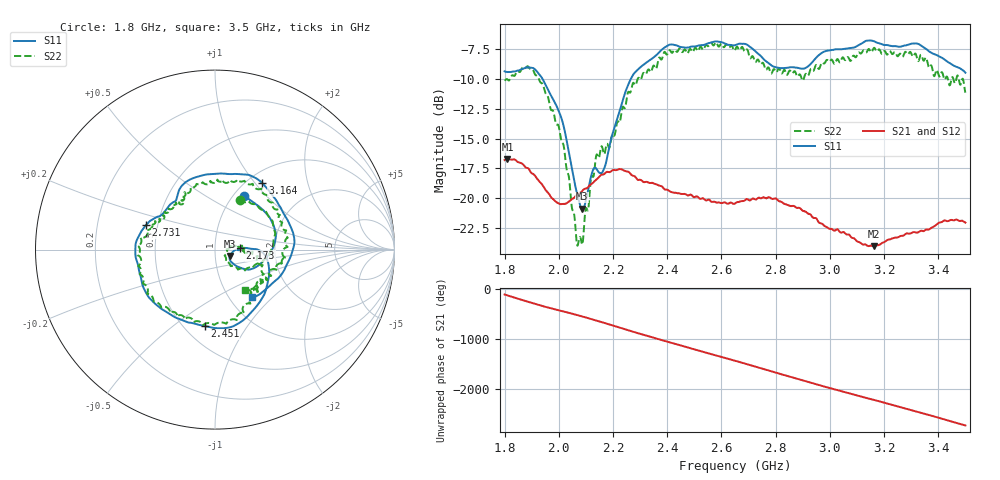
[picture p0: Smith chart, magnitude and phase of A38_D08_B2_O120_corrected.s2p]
! Created with skrf 1.9.0 (http://scikit-rf.org).
# Hz S RI R 50.0
!freq ReS11 ImS11 ReS21 ImS21 ReS12 ImS12 ReS22 ImS22
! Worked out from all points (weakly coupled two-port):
!   1601 points, 1.8 GHz to 3.5 GHz, reference 50 ohm
!   highest |S21| = -16.70 dB at 1.811 GHz (marker M1); lowest = -24.0 dB at 3.162 GHz (marker M2)
!   lowest |S11| = -20.9 dB at 2.087 GHz (marker M3), VSWR 1.20, Z = 58.9 - j4.17 ohm
!   |S11| at or under -10 dB: 1.94 GHz to 2.266 GHz (325.5 MHz wide, 15.5 % of centre)
!   |S22| runs from -24.0 to -6.9 dB; largest |S21 - S12| = 0.0027
!   S11 on the Smith chart (normalised r, x): 1.8 GHz: 1.12, +0.76; 2.173 GHz: 1.32, +0.03; 2.451 GHz: 0.63, -0.66; 2.731 GHz: 0.43, +0.14; 3.164 GHz: 1.17, +1.09; 3.5 GHz: 1.27, -0.76
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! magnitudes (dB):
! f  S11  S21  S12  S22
! 1.8 GHz  -9.4  -16.8  -16.8  -10.1
! 1.811 GHz  -9.4  -16.7  -16.7  -10.0
! 1.886 GHz  -9.0  -17.5  -17.5  -8.9
! 1.941 GHz  -10.1  -18.9  -18.9  -10.5
! 2.011 GHz  -13.4  -20.5  -20.5  -15.3
! 2.066 GHz  -19.5  -19.7  -19.7  -23.6
! 2.084 GHz  -20.8  -19.5  -19.4  -23.7
! 2.087 GHz  -20.9  -19.4  -19.4  -23.9
! 2.137 GHz  -17.5  -18.5  -18.5  -16.6
! 2.173 GHz  -17.1  -17.8  -17.9  -15.8
! 2.264 GHz  -10.1  -17.9  -17.9  -11.1
! 2.367 GHz  -7.8  -18.9  -18.9  -8.4
! 2.451 GHz  -7.3  -19.6  -19.6  -7.6
! 2.65 GHz  -7.2  -20.4  -20.4  -7.6
! 2.731 GHz  -7.8  -20.1  -20.1  -8.4
! 2.81 GHz  -9.1  -20.2  -20.1  -9.1
! 2.934 GHz  -8.6  -21.5  -21.5  -9.2
! 3.162 GHz  -6.8  -24.0  -24.0  -7.4
! 3.164 GHz  -6.8  -24.0  -24.0  -7.4
! 3.217 GHz  -7.2  -23.5  -23.4  -7.7
! 3.325 GHz  -7.0  -22.9  -22.8  -8.5
! 3.5 GHz  -9.5  -22.0  -22.0  -11.1
